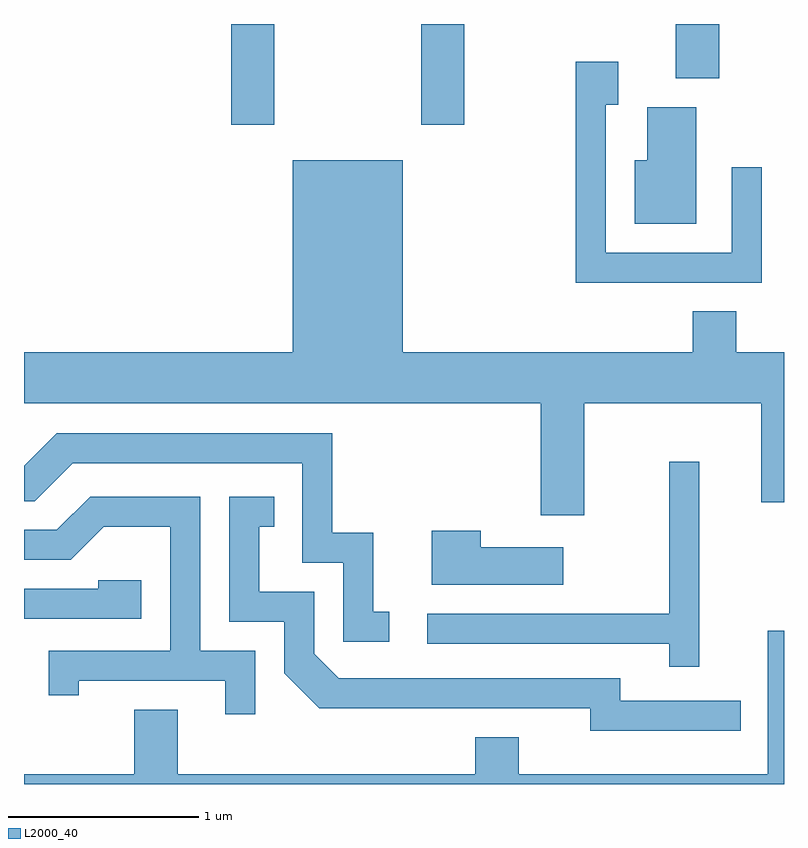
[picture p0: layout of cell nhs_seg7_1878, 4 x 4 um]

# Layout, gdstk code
import gdstk
lib = gdstk.Library(unit=1e-6, precision=1e-09)
def R(c, l, rs):  # rectangles x0, y0, x1, y1
    for r in rs: c.add(gdstk.rectangle(r[:2], r[2:], *l))
def P(c, l, *ps):  # polygons
    for p in ps: c.add(gdstk.Polygon(p, *l))
L2000_40 = (2000, 40)

nhs_seg7_1878 = lib.new_cell('nhs_seg7_1878')
R(nhs_seg7_1878, L2000_40, [(242.701,1775.721,242.929,1776.252), (243.701,1775.721,243.929,1776.252), (245.041,1775.966,245.269,1776.252)])
P(nhs_seg7_1878, L2000_40, [(245.494,1775.498),(245.336,1775.498),(245.336,1775.049),(244.674,1775.049),(244.674,1775.826),(244.739,1775.826),(244.739,1776.054),(244.516,1776.054),(244.516,1774.891),(245.494,1774.891)],
  [(245.149,1775.814),(244.891,1775.814),(244.891,1775.534),(244.826,1775.534),(244.826,1775.201),(245.149,1775.201)],
  [(244.559,1774.256),(245.491,1774.256),(245.491,1773.736),(245.611,1773.736),(245.611,1774.524),(245.359,1774.524),(245.359,1774.739),(245.131,1774.739),(245.131,1774.524),(243.604,1774.524),(243.604,1775.534),(243.026,1775.534),(243.026,1774.524),(241.611,1774.524),(241.611,1774.256),(244.331,1774.256),(244.331,1773.666),(244.559,1773.666)],
  [(243.533,1773.159),(243.449,1773.159),(243.449,1773.574),(243.234,1773.574),(243.234,1774.099),(241.784,1774.099),(241.611,1773.926),(241.611,1773.741),(241.667,1773.741),(241.867,1773.941),(243.076,1773.941),(243.076,1773.416),(243.291,1773.416),(243.291,1773.001),(243.533,1773.001)],
  [(245.164,1773.948),(245.006,1773.948),(245.006,1773.149),(243.733,1773.149),(243.733,1772.991),(245.006,1772.991),(245.006,1772.868),(245.164,1772.868)],
  [(242.829,1772.954),(242.539,1772.954),(242.539,1773.764),(241.959,1773.764),(241.784,1773.589),(241.611,1773.589),(241.611,1773.431),(241.857,1773.431),(242.032,1773.606),(242.381,1773.606),(242.381,1772.954),(241.741,1772.954),(241.741,1772.718),(241.899,1772.718),(241.899,1772.796),(242.671,1772.796),(242.671,1772.618),(242.829,1772.618)],
  [(245.383,1772.689),(244.749,1772.689),(244.749,1772.809),(243.267,1772.809),(243.139,1772.937),(243.139,1773.264),(242.849,1773.264),(242.849,1773.606),(242.928,1773.606),(242.928,1773.764),(242.691,1773.764),(242.691,1773.106),(242.981,1773.106),(242.981,1772.834),(243.164,1772.651),(244.591,1772.651),(244.591,1772.531),(245.383,1772.531)],
  [(244.449,1773.499),(244.014,1773.499),(244.014,1773.584),(243.756,1773.584),(243.756,1773.301),(244.449,1773.301)],
  [(242.229,1773.324),(242.001,1773.324),(242.001,1773.279),(241.611,1773.279),(241.611,1773.121),(242.229,1773.121)],
  [(245.611,1773.058),(245.526,1773.058),(245.526,1772.304),(244.214,1772.304),(244.214,1772.499),(243.986,1772.499),(243.986,1772.304),(242.419,1772.304),(242.419,1772.644),(242.191,1772.644),(242.191,1772.304),(241.611,1772.304),(241.611,1772.252),(245.611,1772.252)])

lib.write_gds('nhs_seg7_1878.gds')
